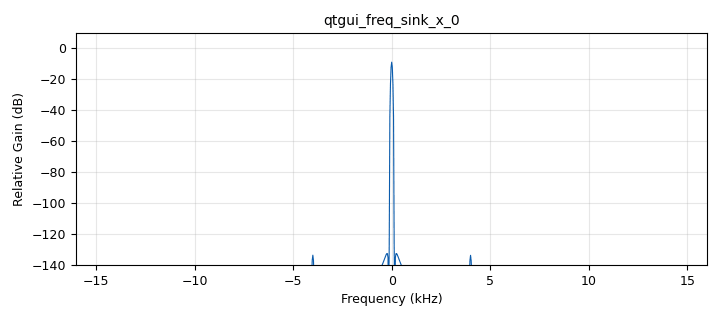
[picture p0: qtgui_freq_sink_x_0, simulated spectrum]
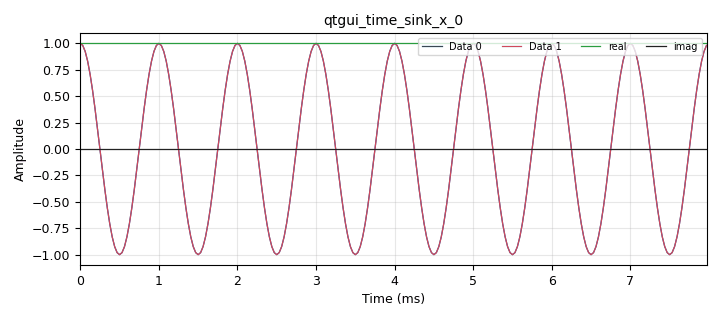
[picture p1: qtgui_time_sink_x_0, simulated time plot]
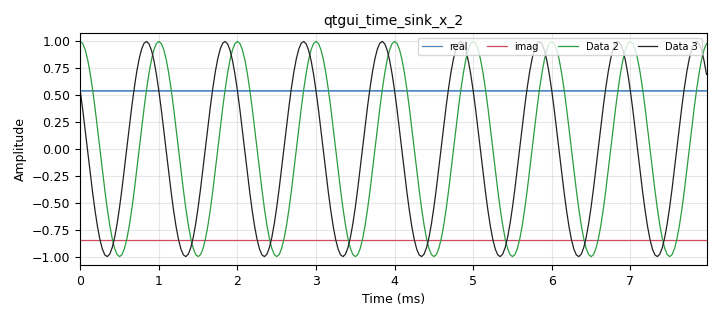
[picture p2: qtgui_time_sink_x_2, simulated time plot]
options:
  parameters:
    generate_options: qt_gui
    id: top_block
    output_language: python
  states: {}

blocks:
- name: samp_rate
  id: variable
  parameters:
    value: '32000'
  states: {}
- name: analog_sig_source_x_0
  id: analog_sig_source_x
  parameters:
    amp: '1'
    freq: '1000'
    offset: '0'
    phase: '0'
    samp_rate: samp_rate
    type: complex
    waveform: analog.GR_COS_WAVE
  states: {}
- name: analog_sig_source_x_1
  id: analog_sig_source_x
  parameters:
    amp: '1'
    freq: '1000'
    offset: '0'
    phase: '0'
    samp_rate: samp_rate
    type: complex
    waveform: analog.GR_COS_WAVE
  states: {}
- name: blocks_add_const_vxx_0
  id: blocks_add_const_vxx
  parameters:
    const: '1'
    type: float
  states: {}
- name: blocks_complex_to_float_0
  id: blocks_complex_to_float
  parameters: {}
  states: {}
- name: blocks_complex_to_float_0_0
  id: blocks_complex_to_float
  parameters: {}
  states: {}
- name: blocks_complex_to_magphase_0
  id: blocks_complex_to_magphase
  parameters: {}
  states: {}
- name: blocks_complex_to_real_0
  id: blocks_complex_to_real
  parameters: {}
  states: {}
- name: blocks_complex_to_real_0_0
  id: blocks_complex_to_real
  parameters: {}
  states: {}
- name: blocks_complex_to_real_0_0_0
  id: blocks_complex_to_real
  parameters: {}
  states: {}
- name: blocks_magphase_to_complex_1
  id: blocks_magphase_to_complex
  parameters: {}
  states: {}
- name: blocks_multiply_conjugate_cc_0
  id: blocks_multiply_conjugate_cc
  parameters: {}
  states: {}
- name: blocks_multiply_conjugate_cc_0_0
  id: blocks_multiply_conjugate_cc
  parameters: {}
  states: {}
- name: blocks_multiply_const_vxx_0
  id: blocks_multiply_const_vxx
  parameters:
    const: '1'
    type: float
  states: {}
- name: blocks_throttle_0
  id: blocks_throttle
  parameters:
    samples_per_second: samp_rate
    type: complex
  states: {}
- name: blocks_throttle_0_0
  id: blocks_throttle
  parameters:
    samples_per_second: samp_rate
    type: complex
  states: {}
- name: qtgui_freq_sink_x_0
  id: qtgui_freq_sink_x
  parameters:
    bw: samp_rate
    fc: '0'
    fftsize: '1024'
    showports: 'True'
    type: complex
    wintype: firdes.WIN_BLACKMAN_hARRIS
  states: {}
- name: qtgui_time_sink_x_0
  id: qtgui_time_sink_x
  parameters:
    autoscale: 'True'
    label1: ''
    label2: ''
    label3: real
    label4: imag
    nconnections: '4'
    size: '256'
    srate: samp_rate
    type: float
  states: {}
- name: qtgui_time_sink_x_2
  id: qtgui_time_sink_x
  parameters:
    label1: real
    label2: imag
    label3: ''
    label4: ''
    nconnections: '4'
    size: '256'
    srate: samp_rate
    type: float
  states: {}

connections:
- [analog_sig_source_x_0, '0', blocks_throttle_0, '0']
- [analog_sig_source_x_1, '0', blocks_throttle_0_0, '0']
- [blocks_add_const_vxx_0, '0', blocks_magphase_to_complex_1, '1']
- [blocks_complex_to_float_0, '0', qtgui_time_sink_x_0, '2']
- [blocks_complex_to_float_0, '1', qtgui_time_sink_x_0, '3']
- [blocks_complex_to_float_0_0, '0', qtgui_time_sink_x_2, '0']
- [blocks_complex_to_float_0_0, '1', qtgui_time_sink_x_2, '1']
- [blocks_complex_to_magphase_0, '0', blocks_multiply_const_vxx_0, '0']
- [blocks_complex_to_magphase_0, '1', blocks_add_const_vxx_0, '0']
- [blocks_complex_to_real_0, '0', qtgui_time_sink_x_0, '0']
- [blocks_complex_to_real_0, '0', qtgui_time_sink_x_2, '2']
- [blocks_complex_to_real_0_0, '0', qtgui_time_sink_x_0, '1']
- [blocks_complex_to_real_0_0_0, '0', qtgui_time_sink_x_2, '3']
- [blocks_magphase_to_complex_1, '0', blocks_complex_to_real_0_0_0, '0']
- [blocks_magphase_to_complex_1, '0', blocks_multiply_conjugate_cc_0_0, '1']
- [blocks_multiply_conjugate_cc_0, '0', blocks_complex_to_float_0, '0']
- [blocks_multiply_conjugate_cc_0_0, '0', blocks_complex_to_float_0_0, '0']
- [blocks_multiply_conjugate_cc_0_0, '0', qtgui_freq_sink_x_0, '0']
- [blocks_multiply_const_vxx_0, '0', blocks_magphase_to_complex_1, '0']
- [blocks_throttle_0, '0', blocks_complex_to_real_0, '0']
- [blocks_throttle_0, '0', blocks_multiply_conjugate_cc_0, '0']
- [blocks_throttle_0, '0', blocks_multiply_conjugate_cc_0_0, '0']
- [blocks_throttle_0_0, '0', blocks_complex_to_magphase_0, '0']
- [blocks_throttle_0_0, '0', blocks_complex_to_real_0_0, '0']
- [blocks_throttle_0_0, '0', blocks_multiply_conjugate_cc_0, '1']

metadata:
  file_format: 1
